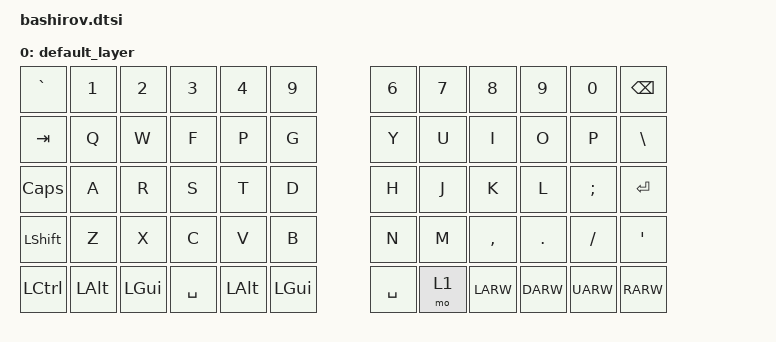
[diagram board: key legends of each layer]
#include <dt-bindings/zmk/matrix_transform.h>

/ {
    chosen {
        zmk,kscan = &kscan0;
        zmk,matrix_transform = &default_transform;
    };

    default_transform: keymap_transform_0 {
        compatible = "zmk,matrix-transform";
        columns = <14>;
        rows = <4>;
// | SW6  | SW5  | SW4  | SW3  | SW2  | SW1  |                 | SW1  | SW2  | SW3  | SW4  | SW5  | SW6  |
// | SW12 | SW11 | SW10 | SW9  | SW8  | SW7  |                 | SW7  | SW8  | SW9  | SW10 | SW11 | SW12 |
// | SW18 | SW17 | SW16 | SW15 | SW14 | SW13 |                 | SW13 | SW14 | SW15 | SW16 | SW17 | SW18 |
// | SW24 | SW23 | SW22 | SW21 | SW20 | SW19 |                 | SW19 | SW20 | SW21 | SW22 | SW23 | SW24 |
// | SW30 | SW29 | SW28 | SW27 | SW26 | SW25 |                 | SW25 | SW26 | SW27 | SW28 | SW29 | SW30 |

        map = <
RC(0,0) RC(0,1) RC(0,2) RC(0,3) RC(0,4) RC(0,5)                         RC(0,6) RC(0,7) RC(0,8)  RC(0,9)  RC(0,10) RC(0,11) RC(0, 14)
RC(1,0) RC(1,1) RC(1,2) RC(1,3) RC(1,4) RC(1,5)                         RC(1,6) RC(1,7) RC(1,8)  RC(1,9)  RC(1,10) RC(1,11) RC(1, 14)
RC(2,0) RC(2,1) RC(2,2) RC(2,3) RC(2,4) RC(2,5)                         RC(2,6) RC(2,7) RC(2,8)  RC(2,9)  RC(2,10) RC(2,11) RC(2, 14)
RC(3,0) RC(3,1) RC(3,2) RC(3,3) RC(3,4) RC(3,5) RC(3, 6)        RC(3,7) RC(3,8) RC(3,9) RC(3,10) RC(3,11) RC(3,12) RC(3,13) RC(3, 14)
                                RC(4,4) RC(4,5) RC(4, 6)        RC(4,7) RC(4,8) RC(4,9)
        >;
    };

    kscan0: kscan {
        compatible = "zmk,kscan-gpio-matrix";
        wakeup-source;
        diode-direction = "col2row";
        row-gpios
            = <&pro_micro 5 (GPIO_ACTIVE_HIGH | GPIO_PULL_DOWN)> // Row A from the schematic file
            , <&pro_micro 6 (GPIO_ACTIVE_HIGH | GPIO_PULL_DOWN)> // Row B from the schematic file
            , <&pro_micro 7 (GPIO_ACTIVE_HIGH | GPIO_PULL_DOWN)> // Row C from the schematic file
            , <&pro_micro 16 (GPIO_ACTIVE_HIGH | GPIO_PULL_DOWN)> // Row D from the schematic file
            , <&pro_micro 14 (GPIO_ACTIVE_HIGH | GPIO_PULL_DOWN)> // Row E from the schematic file
            ;

    };
};
keymap {
                compatible = "zmk,keymap";

                default_layer {
// ---------------------------------------------------------------------------------
// |   `  |  1  |  2  |  3  |  4  |  9  |     |  6  |  7  |  8  |  9  |  0  -----------| BKSP |
// |  TAB |  Q  |  W  |  F  |  P  |  G  |     |  Y  |  U  |  I  |  O  |  P  |  \   |
// | CAPS |  A  |  R  |  S  |  T  |  D  |     |  H  |  J  |  K  |  L  |  ;  |  ENT |
// | SHFT |  Z  |  X  |  C  |  V  |  B  |     |  N  |  M  |  ,  |  .  |  /  | APOS |
// | CTRL | ALT | GUI | SPC | SPC | SPC |     | SPC | LOW |LARW |DARW |UARW | RARW |
                        bindings = <
   &kp GRAVE  &kp N1    &kp N2    &kp N3     &kp N4     &kp N9               &kp N6     &kp N7  &kp N8     &kp N9    &kp N0    &kp BSPC
   &kp TAB    &kp Q     &kp W     &kp F      &kp P      &kp G                &kp Y      &kp U   &kp I      &kp O     &kp P     &kp BSLH
   &kp CAPS   &kp A     &kp R     &kp S      &kp T      &kp D                &kp H      &kp J   &kp K      &kp L     &kp SEMI  &kp RET
   &kp LSHFT  &kp Z     &kp X     &kp C      &kp V      &kp B                &kp N      &kp M   &kp COMMA  &kp DOT   &kp FSLH  &kp APOS
   &kp LCTRL  &kp LALT  &kp LGUI  &kp SPACE  &kp LALT   &kp LGUI             &kp SPACE  &mo 1   &kp LARW   &kp DARW  &kp UARW  &kp RARW
                        >;
                };
	};
